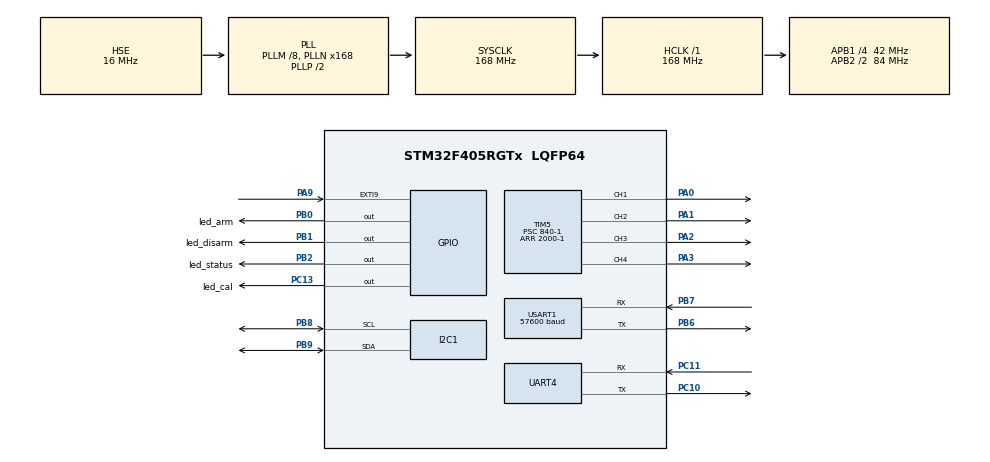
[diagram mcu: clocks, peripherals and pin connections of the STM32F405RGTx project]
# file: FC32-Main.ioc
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I2C1.I2C_Mode=I2C_Fast
Mcu.Family=STM32F4
Mcu.Name=STM32F405RGTx
Mcu.Package=LQFP64
NVIC.EXTI9_5_IRQn=true\:0\:0\:false\:false\:true\:true\:true\:true
NVIC.PriorityGroup=NVIC_PRIORITYGROUP_4
NVIC.TIM1_UP_TIM10_IRQn=true\:0\:0\:false\:false\:true\:true\:true\:true
NVIC.UART4_IRQn=true\:0\:0\:false\:false\:true\:true\:true\:true
PA0-WKUP.Signal=S_TIM5_CH1
PA1.Signal=S_TIM5_CH2
PA13.Mode=Serial_Wire
PA13.Signal=SYS_JTMS-SWDIO
PA14.Mode=Serial_Wire
PA14.Signal=SYS_JTCK-SWCLK
PA2.Signal=S_TIM5_CH3
PA3.Signal=S_TIM5_CH4
PA9.Signal=GPXTI9
PB0.GPIO_Label=led_arm
PB0.Signal=GPIO_Output
PB1.GPIO_Label=led_disarm
PB1.Signal=GPIO_Output
PB2.GPIO_Label=led_status
PB2.Signal=GPIO_Output
PB6.Mode=Asynchronous
PB6.Signal=USART1_TX
PB7.Mode=Asynchronous
PB7.Signal=USART1_RX
PB8.Mode=I2C
PB8.Signal=I2C1_SCL
PB9.Mode=I2C
PB9.Signal=I2C1_SDA
PC10.Mode=Asynchronous
PC10.Signal=UART4_TX
PC11.Mode=Asynchronous
PC11.Signal=UART4_RX
PC13-ANTI_TAMP.GPIO_Label=led_cal
PC13-ANTI_TAMP.Signal=GPIO_Output
PH0-OSC_IN.Mode=HSE-External-Oscillator
PH0-OSC_IN.Signal=RCC_OSC_IN
PH1-OSC_OUT.Mode=HSE-External-Oscillator
PH1-OSC_OUT.Signal=RCC_OSC_OUT
ProjectManager.HeapSize=0x200
ProjectManager.StackSize=0x400
ProjectManager.TargetToolchain=STM32CubeIDE
RCC.48MHZClocksFreq_Value=84000000
RCC.AHBFreq_Value=168000000
RCC.APB1CLKDivider=RCC_HCLK_DIV4
RCC.APB1Freq_Value=42000000
RCC.APB1TimFreq_Value=84000000
RCC.APB2CLKDivider=RCC_HCLK_DIV2
RCC.APB2Freq_Value=84000000
RCC.APB2TimFreq_Value=168000000
RCC.CortexFreq_Value=168000000
RCC.HCLKFreq_Value=168000000
RCC.HSE_VALUE=16000000
RCC.HSI_VALUE=16000000
RCC.LSE_VALUE=32768
RCC.PLLM=8
RCC.PLLN=168
RCC.PLLSourceVirtual=RCC_PLLSOURCE_HSE
RCC.SYSCLKFreq_VALUE=168000000
RCC.SYSCLKSource=RCC_SYSCLKSOURCE_PLLCLK
RCC.VCOOutputFreq_Value=336000000
SH.S_TIM5_CH1.0=TIM5_CH1,PWM Generation1 CH1
SH.S_TIM5_CH2.0=TIM5_CH2,PWM Generation2 CH2
SH.S_TIM5_CH3.0=TIM5_CH3,PWM Generation3 CH3
SH.S_TIM5_CH4.0=TIM5_CH4,PWM Generation4 CH4
TIM10.Period=100-1
TIM10.Prescaler=84-1
TIM13.Prescaler=84-1
TIM14.Prescaler=84-1
TIM5.Channel-PWM\ Generation1\ CH1=TIM_CHANNEL_1
TIM5.Channel-PWM\ Generation2\ CH2=TIM_CHANNEL_2
TIM5.Channel-PWM\ Generation3\ CH3=TIM_CHANNEL_3
TIM5.Channel-PWM\ Generation4\ CH4=TIM_CHANNEL_4
TIM5.Period=2000-1
TIM5.Prescaler=840-1
UART4.VirtualMode=Asynchronous
USART1.BaudRate=57600
USART1.VirtualMode=VM_ASYNC
VP_TIM10_VS_ClockSourceINT.Mode=Enable_Timer
VP_TIM13_VS_ClockSourceINT.Mode=Enable_Timer
VP_TIM14_VS_ClockSourceINT.Mode=Enable_Timer
VP_TIM5_VS_ClockSourceINT.Mode=Internal
board=custom

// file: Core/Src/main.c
/* USER CODE BEGIN Header */
/**
  ******************************************************************************
  * @file           : main.c
  * @brief          : Main program body
  ******************************************************************************
  * @attention
  *
  * Copyright (c) 2022 STMicroelectronics.
  * All rights reserved.
  *
  * This software is licensed under terms that can be found in the LICENSE file
  * in the root directory of this software component.
  * If no LICENSE file comes with this software, it is provided AS-IS.
  *
  ******************************************************************************
  */
/* USER CODE END Header */
#include "main.h"
#include "i2c.h"
#include "tim.h"
#include "usart.h"
#include "gpio.h"

/* USER CODE BEGIN Includes */
#include "stdbool.h"
#include "math.h"
#include "stdlib.h"
#include "stdio.h"
#include "string.h"
/* USER CODE END Includes */

/* USER CODE BEGIN PD */
#define MPU9250_ADDR		0xD0

#define SMPLRT_DIV			0x19

#define MPU9250_CONFIG		0X1A
#define GYRO_CONFIG			0X1B
#define ACCEL_CONFIG		0X1C
#define ACCEL_CONFIG_2		0X1D

#define ACCEL_XOUT_H		0X3B
#define ACCEL_XOUT_L		0X3C
#define ACCEL_YOUT_H		0X3D
#define ACCEL_YOUT_L		0X3E
#define ACCEL_ZOUT_H		0X3F
#define ACCEL_ZOUT_L		0X40

#define TEMP_OUT_H			0X41
#define TEMP_OUT_L			0x42

#define GYRO_XOUT_H			0X43
#define GYRO_XOUT_L			0X44
#define GYRO_YOUT_H			0X45
#define GYRO_YOUT_L			0X46
#define GYRO_ZOUT_H			0X47
#define GYRO_ZOUT_L			0X48

#define PWR_MGMT_1			0x6B
#define WHO_AM_I_REG 		0x75

/* USER CODE END PD */

/* USER CODE BEGIN PV */

uint8_t GYRO_DLPF_CFG		= 0X02; 	// Set digital low-pass filter 0x02 to get bandwidth 92Hz
uint8_t ACCEL_DLPF_CFG		= 0X02;		// Set digital low-pass filter 0x02 to get bandwidth 99Hz

uint8_t GYRO_FS				= 0x08;		// +500DPS
uint8_t ACCEL_FS			= 0X10;		// +-8G

uint8_t PWR_CONIG			= 0X00;		// Auto select the best available clock source
uint8_t SMPLRT_CONFIG		= 0X07;		// Sample_Rate = Internal_Sample_Rate/(1+SMPLRT_CONFIG)
										// Sample_Rate = 8Khz/(1+8) = 1Khz
uint8_t MPU9250_RESPONSE_OK	= 0x71;		// Check WHO_AM_I if it is OK it will 0x71 or 113
uint8_t MPU9250_Check		= 0;

bool set_gyro_angle = false;

volatile long ch[8];
volatile long tick;
volatile uint8_t pulse;

int receiver_input_channel_1;
int receiver_input_channel_2;
int receiver_input_channel_3;
int receiver_input_channel_4;
int receiver_input_channel_5;
int receiver_input_channel_6;

int throttle;

long gyro_x_cal;
long gyro_y_cal;
long gyro_z_cal;

int loop_timer;

int gyro_x;
int gyro_y;
int gyro_z;

long acc_x;
long acc_y;
long acc_z;
long acc_total_vector;

float angle_roll;
float angle_pitch;

float angle_roll_output;
float angle_pitch_output;

float angle_roll_acc;
float angle_pitch_acc;

float roll_level_adjust;
float pitch_level_adjust;

float gyro_roll_input;
float gyro_pitch_input;
float gyro_yaw_input;

float pid_roll_setpoint;
float pid_pitch_setpoint;
float pid_yaw_setpoint;

float pid_p_gain_roll		= 1.68;			//1.5
float pid_i_gain_roll		= 0.055;			//0.02
float pid_d_gain_roll		= 15;			//15

float pid_p_gain_pitch		= 1.68;			//1.5
float pid_i_gain_pitch		= 0.055;			//0.02
float pid_d_gain_pitch		= 15;			//15

float pid_p_gain_yaw		= 0.03;			//0.02
float pid_i_gain_yaw		= 0.0002;
float pid_d_gain_yaw		= 10;			//15

float pid_i_mem_roll;
float pid_i_mem_pitch;
float pid_i_mem_yaw;

float pid_last_roll_d_error;
float pid_last_pitch_d_eroor;
float pid_last_yaw_d_error;

float pid_error_temp;

float pid_roll_output;
float pid_pitch_output;
float pid_yaw_output;

int pid_max_roll			= 400;
int pid_max_pitch			= 400;
int pid_max_yaw				= 400;

int esc_1;
int esc_2;
int esc_3;
int esc_4;

int start;

int min_throthle = 1070;
int max_throthle = 2000;
int disable_motor = 1000;

float turning_speed = 5.0;
bool auto_level = true;

uint8_t incomingMsg[100];
uint8_t message_counter;
uint8_t rx_buf;

uint8_t num_used_sats;
uint8_t latitude_north;
uint8_t longtitde_east;
long lat_gps_actual;
long lon_gps_actual;

bool new_line_found = false;

/* USER CODE END PV */

void SystemClock_Config(void);
/* USER CODE BEGIN PFP */
void gps_setup(){

	uint8_t disableGPGSV[11] = { 0xB5, 0x62, 0x06, 0x01, 0x03, 0x00, 0xF0, 0x03, 0x00, 0xFD, 0x15};
	uint8_t setTo_5Hz[14] = { 0xB5, 0x62, 0x06, 0x08, 0x06, 0x00, 0xC8, 0x00, 0x01, 0x00, 0x01, 0x00, 0xDE, 0x6A};
	uint8_t Set_to_57kbps[28] = {0xB5, 0x62, 0x06, 0x00, 0x14, 0x00, 0x01, 0x00, 0x00, 0x00, 0xD0, 0x08, 0x00, 0x00,
	                               0x00, 0xE1, 0x00, 0x00, 0x07, 0x00, 0x07, 0x00, 0x00, 0x00, 0x00, 0x00, 0xE2, 0xE1
	                              };
	HAL_Delay(100);
	HAL_UART_Transmit(&huart1, disableGPGSV, 11,1000);
	HAL_Delay(300);
	HAL_UART_Transmit(&huart1, setTo_5Hz, 14, 1000);
	HAL_Delay(300);
	HAL_UART_Transmit(&huart1, Set_to_57kbps, 28, 10000);
	HAL_Delay(300);

}
void gps_read(){

	HAL_UART_Receive(&huart1, &rx_buf,1,1000);

	if ( rx_buf == '$'){
		for (message_counter =0 ; message_counter <=99; message_counter ++){
			incomingMsg[message_counter] = '-';
		}

		message_counter =0;
	}

	else if ( message_counter <= 99 ) message_counter++;
	incomingMsg[message_counter] = rx_buf;
	if ( rx_buf == '*' ) new_line_found = true;

	if ( new_line_found ){
		new_line_found = false;

		if ( incomingMsg[4] == 'L' && incomingMsg[5] == 'L' && incomingMsg[7] == ',' ){
			HAL_GPIO_TogglePin(led_status_GPIO_Port,led_status_Pin);

		}

		if ( incomingMsg[4] == 'G' && incomingMsg[5] == 'A' && (incomingMsg[44] == '1' || incomingMsg[44] == '2')){

			lat_gps_actual = ((int) incomingMsg[19] - 48) *  (long) 10000000;
			lat_gps_actual += ((int) incomingMsg[20] - 48) * (long) 1000000;
			lat_gps_actual += ((int) incomingMsg[22] - 48) * (long) 100000;
			lat_gps_actual += ((int) incomingMsg[23] - 48) * (long) 10000;
			lat_gps_actual += ((int) incomingMsg[24] - 48) * (long) 1000;
			lat_gps_actual += ((int) incomingMsg[25] - 48) * (long) 100;
			lat_gps_actual += ((int) incomingMsg[26] - 48) * (long) 10;

			lat_gps_actual /= (long) 6;

			lat_gps_actual += ((int) incomingMsg[17] - 48) * (long)100000000;
			lat_gps_actual+= ((int) incomingMsg[18] - 48) *  (long)10000000;

			lat_gps_actual /= 10;

			lon_gps_actual = ((int) incomingMsg[33] - 48) *  (long) 10000000;
			lon_gps_actual += ((int) incomingMsg[34] - 48) * (long) 1000000;
			lon_gps_actual += ((int) incomingMsg[36] - 48) * (long) 100000;
			lon_gps_actual += ((int) incomingMsg[37] - 48) * (long) 10000;
			lon_gps_actual += ((int) incomingMsg[38] - 48) * (long) 1000;
			lon_gps_actual += ((int) incomingMsg[39] - 48) * (long) 100;
			lon_gps_actual += ((int) incomingMsg[40] - 48) * (long) 10;

			lon_gps_actual /= (long) 6;

			lon_gps_actual += ((int) incomingMsg[30] - 48) * (long)100000000;
			lon_gps_actual+= ((int) incomingMsg[31] - 48) *  (long)10000000;
			lon_gps_actual+= ((int) incomingMsg[32] - 48) *  (long)1000000;
			lon_gps_actual /= 10;

		}
	}

}
void gyro_setup(){

	 if (HAL_I2C_Mem_Read (&hi2c1, MPU9250_ADDR,WHO_AM_I_REG,1, &MPU9250_Check, 1, 1000) == HAL_OK ){
		 if ( MPU9250_Check == MPU9250_RESPONSE_OK ){

			 HAL_I2C_Mem_Write(&hi2c1, MPU9250_ADDR, PWR_MGMT_1, 1, &PWR_CONIG, 1, 100);				// Auto select best available clock source
			 HAL_Delay(100);
			 HAL_I2C_Mem_Write(&hi2c1, MPU9250_ADDR, SMPLRT_DIV, 1, &SMPLRT_CONFIG, 1, 100);			// 1Khz sample rate

			 HAL_Delay(100);
			 HAL_I2C_Mem_Write(&hi2c1, MPU9250_ADDR, MPU9250_CONFIG, 1, &GYRO_DLPF_CFG, 1, 100);		// Set digital low-pass filter 0x02 to get bandwidth 92Hz
			 HAL_Delay(100);
			 HAL_I2C_Mem_Write(&hi2c1, MPU9250_ADDR, ACCEL_CONFIG_2, 1, &ACCEL_DLPF_CFG, 1, 100);		// Set digital low-pass filter 0x02 to get bandwidth 99Hz

			 HAL_Delay(100);
			 HAL_I2C_Mem_Write(&hi2c1, MPU9250_ADDR, GYRO_CONFIG, 1, &GYRO_FS, 1, 100);					// Set GYRO to full scale +250DPS
			 HAL_Delay(100);
			 HAL_I2C_Mem_Write(&hi2c1, MPU9250_ADDR, ACCEL_CONFIG, 1, &ACCEL_FS, 1, 100);				// Set ACCEL to full scale +-2G

		 }

	 }

}

void gyro_get_data(){

	uint8_t Accel_Val_Raw[6];
	HAL_I2C_Mem_Read(&hi2c1, MPU9250_ADDR, ACCEL_XOUT_H, 1, Accel_Val_Raw, 6, 1000);

	acc_y = (int16_t) (Accel_Val_Raw[0] << 8 | Accel_Val_Raw [1]);
	acc_x = (int16_t) (Accel_Val_Raw[2] << 8 | Accel_Val_Raw [3]);
	acc_z = (int16_t) (Accel_Val_Raw[4] << 8 | Accel_Val_Raw [5]);

	uint8_t Gyro_Val_Raw[6];
	HAL_I2C_Mem_Read(&hi2c1, MPU9250_ADDR, GYRO_XOUT_H, 1, Gyro_Val_Raw, 6, 1000);

	gyro_y = (int16_t) (Gyro_Val_Raw[0] << 8 | Gyro_Val_Raw [1]);
	gyro_x = (int16_t) (Gyro_Val_Raw[2] << 8 | Gyro_Val_Raw [3]);
	gyro_z = (int16_t) (Gyro_Val_Raw[4] << 8 | Gyro_Val_Raw [5]);

	gyro_x *= -1;
//	gyro_y *= -1;
	gyro_z *= -1;

}

void gyro_cal(){

	for( int i = 0; i < 2000; i++){
		if ( i % 15 == 0 ) HAL_GPIO_TogglePin(led_cal_GPIO_Port, led_cal_Pin);
		gyro_get_data();

		gyro_x_cal += gyro_x;
		gyro_y_cal += gyro_y;
		gyro_z_cal += gyro_z;

		HAL_Delay(4);

	}

	gyro_x_cal /= 2000;
	gyro_y_cal /= 2000;
	gyro_z_cal /= 2000;

}

/* USER CODE END PFP */

int main(void)
{

  /* MCU Configuration--------------------------------------------------------*/

  /* Reset of all peripherals, Initializes the Flash interface and the Systick. */
  HAL_Init();

  /* Configure the system clock */
  SystemClock_Config();

  /* Initialize all configured peripherals */
  MX_GPIO_Init();
  MX_TIM5_Init();
  MX_I2C1_Init();
  MX_TIM13_Init();
  MX_TIM14_Init();
  MX_UART4_Init();
  MX_USART1_UART_Init();
  MX_TIM10_Init();
  /* USER CODE BEGIN 2 */
  HAL_Delay(100);
  HAL_TIM_Base_Start(&htim13);
  HAL_TIM_Base_Start(&htim14);

  HAL_TIM_PWM_Start(&htim5, TIM_CHANNEL_1);
  HAL_TIM_PWM_Start(&htim5, TIM_CHANNEL_2);
  HAL_TIM_PWM_Start(&htim5, TIM_CHANNEL_3);
  HAL_TIM_PWM_Start(&htim5, TIM_CHANNEL_4);
  HAL_Delay(100);

  __HAL_TIM_SET_COMPARE(&htim5,TIM_CHANNEL_1,0);
  __HAL_TIM_SET_COMPARE(&htim5,TIM_CHANNEL_2,0);
  __HAL_TIM_SET_COMPARE(&htim5,TIM_CHANNEL_3,0);
  __HAL_TIM_SET_COMPARE(&htim5,TIM_CHANNEL_4,0);

  HAL_Delay(100);
  gyro_setup();
  HAL_Delay(100);
  gyro_cal();
  HAL_Delay(50);
//  gps_setup();

  loop_timer = __HAL_TIM_GET_COUNTER(&htim13);
  /* USER CODE END 2 */

  /* Infinite loop */
  while (1)
  {

    /* USER CODE BEGIN 3 */

//	  gps_read();

	  receiver_input_channel_1 = ch[0];
	  receiver_input_channel_2 = ch[1];
	  receiver_input_channel_3 = ch[2];
	  receiver_input_channel_4 = ch[3];
	  receiver_input_channel_5 = ch[4];
	  receiver_input_channel_6 = ch[5];

	  gyro_get_data();

	  gyro_x -= gyro_x_cal;
	  gyro_y -= gyro_y_cal;
	  gyro_z -= gyro_z_cal;

	  gyro_pitch_input 	= ( gyro_pitch_input * 0.7 ) + ((float)( gyro_x / 65.5) * 0.3);
	  gyro_roll_input 	= ( gyro_roll_input * 0.7 ) + ((float)( gyro_y / 65.5) * 0.3);
	  gyro_yaw_input 	= ( gyro_yaw_input * 0.7 ) + ((float)( gyro_z / 65.5) * 0.3);

	  angle_pitch += gyro_x * 0.0000611;
	  angle_roll += gyro_y * 0.0000611;

	  angle_pitch -= angle_roll * sin(gyro_z * 0.000001066);
	  angle_roll += angle_pitch * sin(gyro_z * 0.000001066);

	  acc_total_vector = sqrt( ( acc_x*acc_x ) + ( acc_y * acc_y) + ( acc_z * acc_z ) );

	  if ( abs(acc_y) < acc_total_vector ){
		  angle_pitch_acc = asin( (float) acc_y / acc_total_vector ) * 57.296;
	  }

	  if ( abs(acc_x) < acc_total_vector ){
		  angle_roll_acc = asin( (float) acc_x / acc_total_vector ) * 57.296;
	  }

	  angle_pitch_acc -= 0.0;		// -1
	  angle_roll_acc -= 0.0;		// -2.5

	  if ( set_gyro_angle ) {
		  angle_pitch = angle_pitch * 0.9996 + angle_pitch_acc * 0.0004;
		  angle_roll = angle_roll * 0.9996 + angle_roll_acc * 0.0004;
	  }
	  else{
		  angle_pitch = angle_pitch_acc;
		  angle_roll = angle_roll_acc;
		  set_gyro_angle = true;
	  }

//	  angle_pitch_output = angle_pitch_output * 0.9 + angle_pitch * 0.1;
//	  angle_roll_output = angle_roll_output * 0.9 + angle_roll * 0.1;

//	  pitch_level_adjust = angle_pitch_output * 15;
//	  roll_level_adjust = angle_roll_output * 15;

	  if ( !auto_level ){
		  pitch_level_adjust =0;
		  roll_level_adjust =0;
	  }

	  if ( receiver_input_channel_3 < 1050 && receiver_input_channel_1 < 1050 ) start =1;

	  if ( start == 1 && receiver_input_channel_3 < 1050 && receiver_input_channel_1 > 1450 ){
		  start = 2;
		  HAL_GPIO_WritePin(led_arm_GPIO_Port, led_arm_Pin, 1);
		  HAL_GPIO_WritePin(led_disarm_GPIO_Port, led_disarm_Pin, 0);

		  pid_i_mem_roll = 0;
		  pid_last_roll_d_error = 0;
		  pid_i_mem_pitch = 0;
		  pid_last_pitch_d_eroor = 0;
		  pid_i_mem_yaw = 0;
		  pid_last_yaw_d_error = 0;
	  }

	  if ( start == 2 && receiver_input_channel_3 < 1050 && receiver_input_channel_1 > 1950 ){
		  start =0;
		  HAL_GPIO_WritePin(led_arm_GPIO_Port, led_arm_Pin, 0);
		  HAL_GPIO_WritePin(led_disarm_GPIO_Port, led_disarm_Pin, 1);
	  }

	  if ( receiver_input_channel_5 > 1500 ) turning_speed = 5;
	  else turning_speed = 3;

	  pid_roll_setpoint =0;
	  if ( receiver_input_channel_4 > 1508 ) pid_roll_setpoint = (receiver_input_channel_4 - 1508);
	  else if ( receiver_input_channel_4  < 1492 ) pid_roll_setpoint = ( receiver_input_channel_4  - 1492 );

	  pid_roll_setpoint -= roll_level_adjust;
	  pid_roll_setpoint /= turning_speed;

	  pid_pitch_setpoint =0;
	  if ( receiver_input_channel_2 > 1508 ) pid_pitch_setpoint = ( receiver_input_channel_2 - 1508 );
	  else if ( receiver_input_channel_2 < 1492 ) pid_pitch_setpoint = ( receiver_input_channel_2 - 1492 );

	  pid_pitch_setpoint -= pitch_level_adjust;
	  pid_pitch_setpoint /= turning_speed;

	  pid_yaw_setpoint =0;
	  if ( receiver_input_channel_3 > 1050 ){
		  if ( receiver_input_channel_1 > 1508 ) pid_yaw_setpoint = ( receiver_input_channel_1 - 1508 ) / turning_speed;
		  else if ( receiver_input_channel_1 < 1492 ) pid_yaw_setpoint = ( receiver_input_channel_1 - 1492 ) / turning_speed;
	  }

	  pid_error_temp = gyro_roll_input - pid_roll_setpoint;
	  pid_i_mem_roll += pid_i_gain_roll * pid_error_temp;

	  if ( pid_i_mem_roll > pid_max_roll ) pid_i_mem_roll = pid_max_roll;
	  else if ( pid_i_mem_roll < pid_max_roll * -1 ) pid_i_mem_roll = pid_max_roll * -1;

	  pid_roll_output = ( pid_p_gain_roll * pid_error_temp ) + pid_i_mem_roll + ( pid_d_gain_roll * ( pid_error_temp - pid_last_roll_d_error));

	  if ( pid_roll_output > pid_max_roll ) pid_roll_output = pid_max_roll;
	  else if ( pid_roll_output < pid_max_roll * -1) pid_roll_output = pid_max_roll * -1;

	  pid_last_roll_d_error = pid_error_temp;

	  pid_error_temp = gyro_pitch_input - pid_pitch_setpoint;
	  pid_i_mem_pitch += pid_i_gain_pitch * pid_error_temp;

	  if ( pid_i_mem_pitch > pid_max_pitch ) pid_i_mem_pitch = pid_max_pitch;
	  else if ( pid_i_mem_pitch < pid_max_pitch * -1 ) pid_i_mem_pitch = pid_max_pitch * -1;

	  pid_pitch_output = ( pid_p_gain_pitch * pid_error_temp ) + pid_i_mem_pitch + ( pid_d_gain_pitch * ( pid_error_temp - pid_last_pitch_d_eroor));

	  if ( pid_pitch_output > pid_max_pitch ) pid_pitch_output = pid_max_pitch;
	  else if ( pid_pitch_output < pid_max_pitch * -1 ) pid_pitch_output = pid_max_pitch * -1;

	  pid_last_pitch_d_eroor = pid_error_temp;

	  pid_error_temp = gyro_yaw_input - pid_yaw_setpoint;
	  pid_i_mem_yaw += pid_p_gain_yaw * pid_error_temp;

	  if ( pid_i_mem_yaw > pid_max_yaw ) pid_i_mem_yaw = pid_max_yaw;
	  else if ( pid_i_mem_yaw < pid_max_yaw * -1 ) pid_i_mem_yaw = pid_max_yaw * -1;

	  pid_yaw_output = ( pid_p_gain_yaw * pid_error_temp ) + pid_i_mem_yaw + ( pid_d_gain_yaw * ( pid_error_temp - pid_last_yaw_d_error ));

	  if ( pid_yaw_output > pid_max_yaw ) pid_yaw_output = pid_max_yaw;
	  else if ( pid_yaw_output < pid_max_yaw * -1 ) pid_yaw_output = pid_max_yaw * -1;

	  pid_last_yaw_d_error = pid_error_temp;

	  throttle = receiver_input_channel_3;

	  if ( start == 2 ){
		  if ( throttle > 1900 ) throttle = 1900;

		  esc_1 = throttle - pid_pitch_output + pid_roll_output - pid_yaw_output;
		  esc_2 = throttle + pid_pitch_output + pid_roll_output + pid_yaw_output;
		  esc_3 = throttle + pid_pitch_output - pid_roll_output - pid_yaw_output;
		  esc_4 = throttle - pid_pitch_output - pid_roll_output + pid_yaw_output;

		  if ( esc_1 < min_throthle ) esc_1 = min_throthle;
		  if ( esc_2 < min_throthle ) esc_2 = min_throthle;
		  if ( esc_3 < min_throthle ) esc_3 = min_throthle;
		  if ( esc_4 < min_throthle ) esc_4 = min_throthle;

		  if ( esc_1 > max_throthle ) esc_1 = max_throthle;
		  if ( esc_2 > max_throthle ) esc_2 = max_throthle;
		  if ( esc_3 > max_throthle ) esc_3 = max_throthle;
		  if ( esc_4 > max_throthle ) esc_4 = max_throthle;

	  }else{
		  esc_1 = disable_motor;
		  esc_2 = disable_motor;
		  esc_3 = disable_motor;
		  esc_4 = disable_motor;
	  }

	  __HAL_TIM_SET_COMPARE(&htim5,TIM_CHANNEL_1,esc_1);
	  __HAL_TIM_SET_COMPARE(&htim5,TIM_CHANNEL_2,esc_2);
	  __HAL_TIM_SET_COMPARE(&htim5,TIM_CHANNEL_3,esc_3);
	  __HAL_TIM_SET_COMPARE(&htim5,TIM_CHANNEL_4,esc_4);

//	  if ( __HAL_TIM_GET_COUNTER(&htim13) - loop_timer > 4070 ){
//		  HAL_GPIO_TogglePin(led_status_GPIO_Port, led_status_Pin);
//	  }

	  while ( __HAL_TIM_GET_COUNTER(&htim13) - loop_timer < 4000 );
	  loop_timer = __HAL_TIM_GET_COUNTER(&htim13);

  }
  /* USER CODE END 3 */
}

void SystemClock_Config(void)
{
  RCC_OscInitTypeDef RCC_OscInitStruct = {0};
  RCC_ClkInitTypeDef RCC_ClkInitStruct = {0};

  /** Configure the main internal regulator output voltage
  */
  __HAL_RCC_PWR_CLK_ENABLE();
  __HAL_PWR_VOLTAGESCALING_CONFIG(PWR_REGULATOR_VOLTAGE_SCALE1);

  /** Initializes the RCC Oscillators according to the specified parameters
  * in the RCC_OscInitTypeDef structure.
  */
  RCC_OscInitStruct.OscillatorType = RCC_OSCILLATORTYPE_HSE;
  RCC_OscInitStruct.HSEState = RCC_HSE_ON;
  RCC_OscInitStruct.PLL.PLLState = RCC_PLL_ON;
  RCC_OscInitStruct.PLL.PLLSource = RCC_PLLSOURCE_HSE;
  RCC_OscInitStruct.PLL.PLLM = 8;
  RCC_OscInitStruct.PLL.PLLN = 168;
  RCC_OscInitStruct.PLL.PLLP = RCC_PLLP_DIV2;
  RCC_OscInitStruct.PLL.PLLQ = 4;
  if (HAL_RCC_OscConfig(&RCC_OscInitStruct) != HAL_OK)
  {
    Error_Handler();
  }

  /** Initializes the CPU, AHB and APB buses clocks
  */
  RCC_ClkInitStruct.ClockType = RCC_CLOCKTYPE_HCLK|RCC_CLOCKTYPE_SYSCLK
                              |RCC_CLOCKTYPE_PCLK1|RCC_CLOCKTYPE_PCLK2;
  RCC_ClkInitStruct.SYSCLKSource = RCC_SYSCLKSOURCE_PLLCLK;
  RCC_ClkInitStruct.AHBCLKDivider = RCC_SYSCLK_DIV1;
  RCC_ClkInitStruct.APB1CLKDivider = RCC_HCLK_DIV4;
  RCC_ClkInitStruct.APB2CLKDivider = RCC_HCLK_DIV2;

  if (HAL_RCC_ClockConfig(&RCC_ClkInitStruct, FLASH_LATENCY_5) != HAL_OK)
  {
    Error_Handler();
  }
}

/* USER CODE BEGIN 4 */

void HAL_GPIO_EXTI_Callback(uint16_t GPIO_Pin){

	if ( GPIO_Pin == GPIO_PIN_9){
		tick = __HAL_TIM_GET_COUNTER(&htim14);
		__HAL_TIM_SET_COUNTER(&htim14,0);

		if ( tick < 2100){
			ch[pulse] = tick;
			pulse++;
		}
		else{
			__HAL_TIM_SET_COUNTER(&htim14,0);
			pulse =0;
		}

	}

}

/* USER CODE END 4 */

void Error_Handler(void)
{
  __disable_irq();
  while (1)
  {
  }
}
